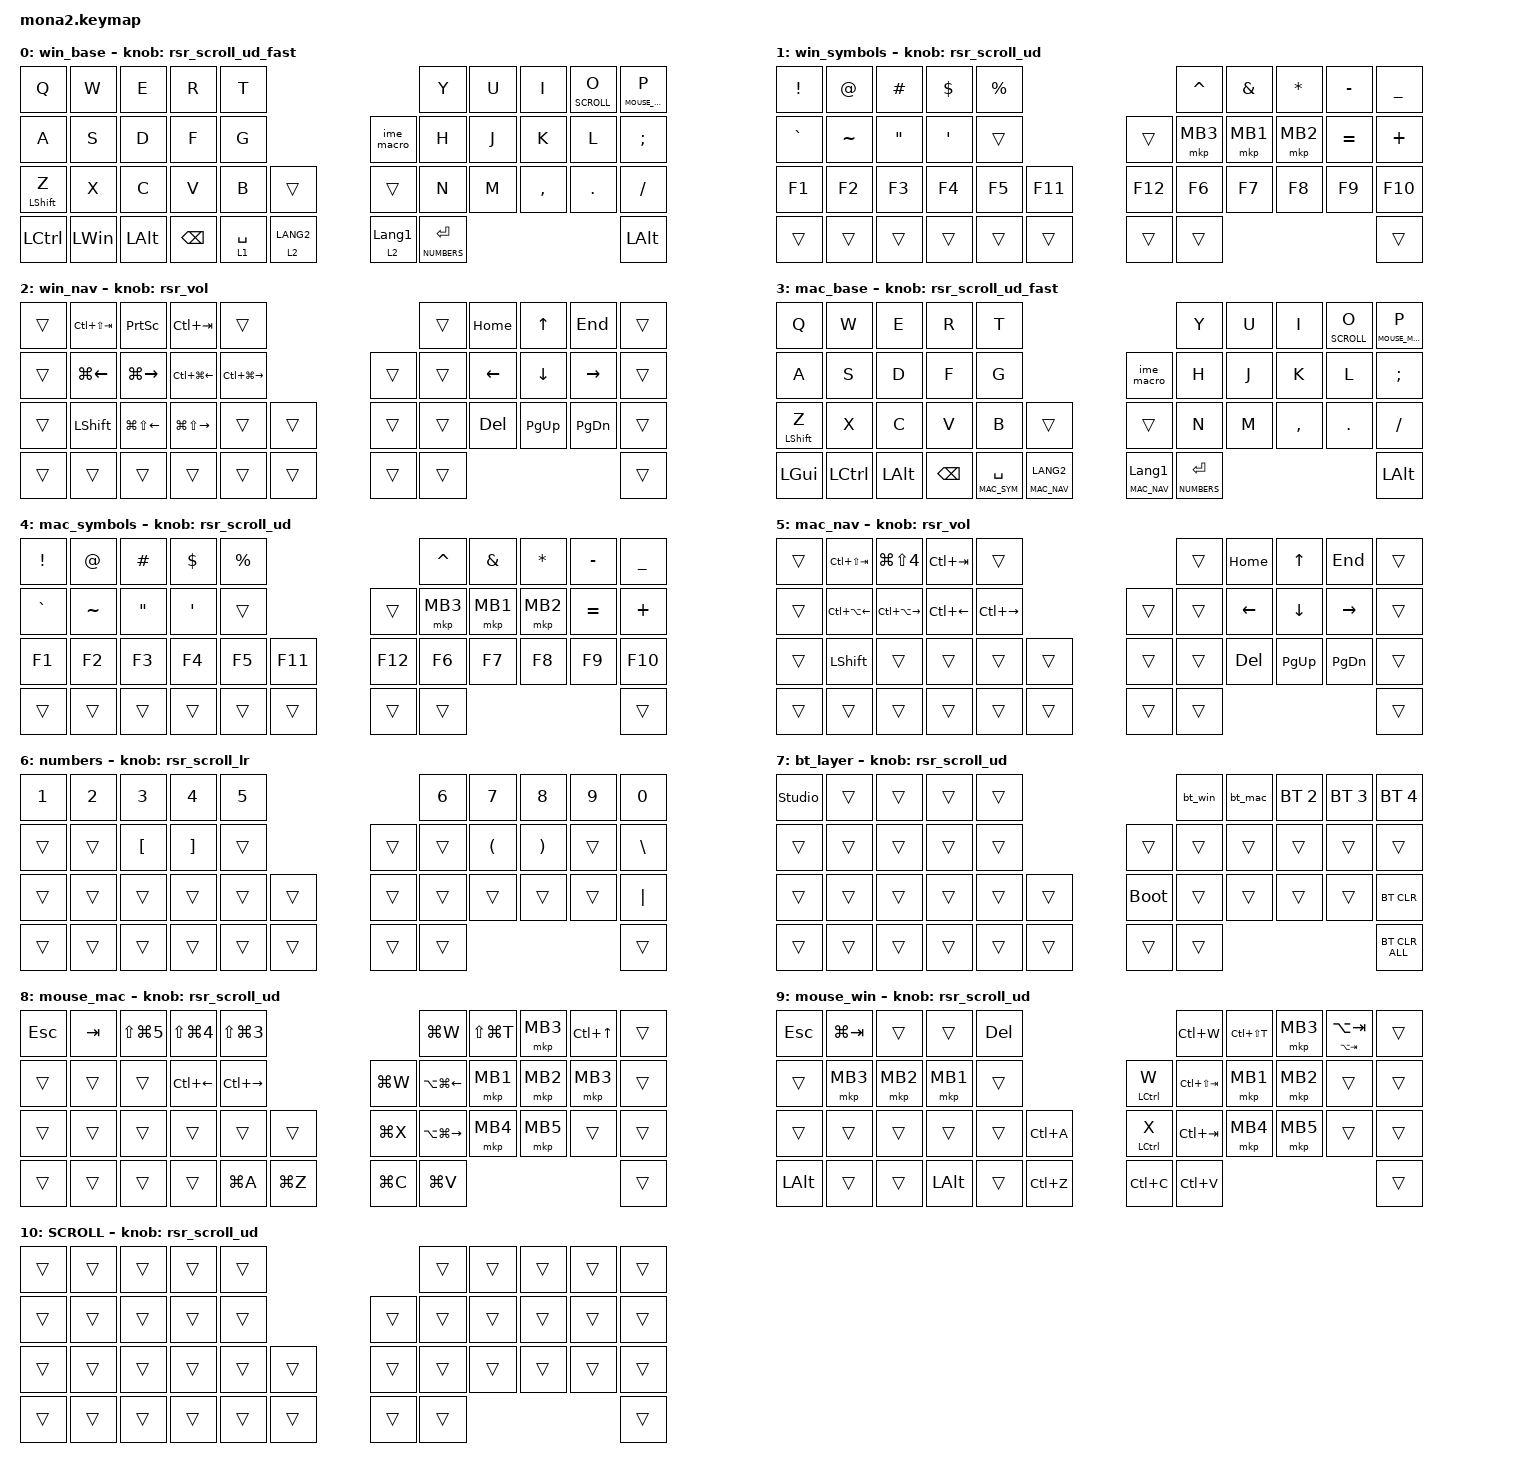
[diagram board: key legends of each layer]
/*
 * moNa2 (右手トラックボール) — DYA Studio 対応 keymap
 *
 * 2026-10-12 時点で実機 (DYA Studio から読み出した値) と同一になるよう固定している。
 *  - キー割り当て: 11 レイヤー × 42 キー
 *  - エンコーダー: Layer 0 / 3 のみスクロール量 100、その他は 30
 *  - コンボ: 旧ファームと同じ zmk,combos（DYA Studio のコンボ一覧には出ない。
 *    Studio で追加したコンボは runtime combo として別枠で動く）
 */

/* pointing.h より先に定義する（pointing.h 側は #ifndef で既定値 10 を定義する） */
#define ZMK_POINTING_DEFAULT_SCRL_VAL 30

#include <behaviors.dtsi>
#include <behaviors/runtime-sensor-rotate.dtsi>
#include <behaviors/runtime_macro.dtsi>
#include <dt-bindings/zmk/bt.h>
#include <dt-bindings/zmk/keys.h>
#include <dt-bindings/zmk/pointing.h>

#define MAC_BASE 3
#define MAC_SYM 4
#define MAC_NAV 5
#define NUMBERS 6
#define BT_LAYER 7
#define MOUSE_MAC 8
#define MOUSE_WIN 9
#define SCROLL 10

&mt {
    flavor = "balanced";
    quick-tap-ms = <0>;
};

&lt {
    quick-tap-ms = <300>;
    flavor = "balanced";
};

/ {
    combos {
        compatible = "zmk,combos";

        bt_layer_ESC {
            bindings = <&lt BT_LAYER ESC>;
            key-positions = <39 38>;
        };

        tab {
            bindings = <&kp TAB>;
            key-positions = <11 12>;
        };
    };

    macros {
        to_layer_0: to_layer_0 {
            compatible = "zmk,behavior-macro-one-param";
            #binding-cells = <1>;
            bindings = <&to 0 &macro_param_1to1 &kp MACRO_PLACEHOLDER>;
            display-name = "TO_LAYER_0";
        };

        ime_macro: ime_macro {
            compatible = "zmk,behavior-macro";
            #binding-cells = <0>;
            bindings = <&kp F13>;
            display-name = "IME_MACRO";
        };

        /* Win/Mac のレイヤー切替は zmk-feature-default-layer（OS 検出）に任せるので、
           プロファイルの選択だけを行う。ノード名は Studio に保存済みのキーマップとの
           互換のため旧名 (bt_win / bt_mac) のまま */
        bt_win: bt_win {
            compatible = "zmk,behavior-macro";
            #binding-cells = <0>;
            bindings = <&bt BT_SEL 0>;
            display-name = "BT_0";
        };

        bt_mac: bt_mac {
            compatible = "zmk,behavior-macro";
            #binding-cells = <0>;
            bindings = <&bt BT_SEL 1>;
            display-name = "BT_1";
        };
    };

    behaviors {
        lt_to_layer_0: lt_to_layer_0 {
            compatible = "zmk,behavior-hold-tap";
            display-name = "LAYER_TAP_TO_0";
            bindings = <&mo>, <&to_layer_0>;

            #binding-cells = <2>;
            tapping-term-ms = <200>;
        };

        // DYA Studio: Runtime sensor rotate behaviors for encoder
        rsr_vol: rsr_vol {
            compatible = "zmk,behavior-runtime-sensor-rotate";
            #sensor-binding-cells = <0>;
            tap-ms = <20>;
            cw-binding = <&kp C_VOL_DN>;
            ccw-binding = <&kp C_VOL_UP>;
        };

        rsr_scroll_ud: rsr_scroll_ud {
            compatible = "zmk,behavior-runtime-sensor-rotate";
            #sensor-binding-cells = <0>;
            tap-ms = <20>;
            cw-binding = <&msc SCRL_DOWN>;
            ccw-binding = <&msc SCRL_UP>;
        };

        // Layer 0 / 3 用。実機で DYA Studio から ±100 に変更されていた値
        rsr_scroll_ud_fast: rsr_scroll_ud_fast {
            compatible = "zmk,behavior-runtime-sensor-rotate";
            #sensor-binding-cells = <0>;
            tap-ms = <20>;
            cw-binding = <&msc MOVE_Y(-100)>;
            ccw-binding = <&msc MOVE_Y(100)>;
        };

        rsr_scroll_lr: rsr_scroll_lr {
            compatible = "zmk,behavior-runtime-sensor-rotate";
            #sensor-binding-cells = <0>;
            tap-ms = <20>;
            cw-binding = <&msc SCRL_LEFT>;
            ccw-binding = <&msc SCRL_RIGHT>;
        };
    };
    keymap {
        compatible = "zmk,keymap";

        // ==========================================
        // Layer 0: Windows Base
        // ==========================================

        win_base {
            bindings = <
&kp Q             &kp W         &kp E     &kp R          &kp T                                                                  &kp Y        &kp U  &kp I      &lt SCROLL O  &lt MOUSE_WIN P
&kp A             &kp S         &kp D     &kp F          &kp G                                  &ime_macro                       &kp H        &kp J  &kp K      &kp L         &kp SEMICOLON
&mt LEFT_SHIFT Z  &kp X         &kp C     &kp V          &kp B        &trans                     &trans                           &kp N        &kp M  &kp COMMA  &kp DOT       &kp SLASH
&kp LCTRL         &kp LEFT_WIN  &kp LALT  &kp BACKSPACE  &lt 1 SPACE  &lt_to_layer_0 2 LANG2     &lt_to_layer_0 2 LANGUAGE_1      &lt NUMBERS ENTER                            &kp LEFT_ALT
            >;

            sensor-bindings = <&rsr_scroll_ud_fast>;
        };

        // ==========================================
        // Layer 1: Windows Symbols
        // ==========================================

        win_symbols {
            bindings = <
&kp EXCLAMATION  &kp AT_SIGN  &kp POUND          &kp DOLLAR  &kp PERCENT                      &kp CARET  &kp AMPERSAND  &kp ASTERISK  &kp MINUS  &kp UNDERSCORE
&kp GRAVE        &kp TILDE    &kp DOUBLE_QUOTES  &kp SQT     &trans                  &trans   &mkp MB3   &mkp MB1       &mkp MB2      &kp EQUAL  &kp PLUS
&kp F1           &kp F2       &kp F3             &kp F4      &kp F5       &kp F11    &kp F12  &kp F6     &kp F7         &kp F8        &kp F9     &kp F10
&trans           &trans       &trans             &trans      &trans       &trans     &trans   &trans                                             &trans
            >;

            sensor-bindings = <&rsr_scroll_ud>;
        };

        // ==========================================
        // Layer 2: Windows Nav
        // ==========================================

        win_nav {
            bindings = <
&trans  &kp LC(LS(TAB))     &kp PRINTSCREEN         &kp LC(TAB)              &trans                                     &trans  &kp HOME        &kp UP_ARROW    &kp END          &trans
&trans  &kp LG(LEFT_ARROW)  &kp LG(RIGHT_ARROW)     &kp LC(LG(LEFT_ARROW))   &kp LC(LG(RIGHT_ARROW))            &trans  &trans  &kp LEFT_ARROW  &kp DOWN_ARROW  &kp RIGHT_ARROW  &trans
&trans  &kp LEFT_SHIFT      &kp LG(LS(LEFT_ARROW))  &kp LG(LS(RIGHT_ARROW))  &trans                   &trans    &trans  &trans  &kp DELETE      &kp PAGE_UP     &kp PAGE_DOWN    &trans
&trans  &trans              &trans                  &trans                   &trans                   &trans    &trans  &trans                                                   &trans
            >;

            sensor-bindings = <&rsr_vol>;
        };

        // ==========================================
        // Layer 3: Mac Base
        // ==========================================

        mac_base {
            bindings = <
&kp Q             &kp W      &kp E     &kp R          &kp T                                                            &kp Y        &kp U  &kp I      &lt SCROLL O  &lt MOUSE_MAC P
&kp A             &kp S      &kp D     &kp F          &kp G                              &ime_macro                    &kp H        &kp J  &kp K      &kp L         &kp SEMICOLON
&mt LEFT_SHIFT Z  &kp X      &kp C     &kp V          &kp B          &trans               &trans                        &kp N        &kp M  &kp COMMA  &kp DOT       &kp SLASH
&kp LGUI          &kp LCTRL  &kp LALT  &kp BACKSPACE  &lt MAC_SYM SPACE  &lt MAC_NAV LANG2  &lt MAC_NAV LANGUAGE_1       &lt NUMBERS ENTER                            &kp LALT
            >;

            sensor-bindings = <&rsr_scroll_ud_fast>;
        };

        // ==========================================
        // Layer 4: Mac Symbols
        // ==========================================

        mac_symbols {
            bindings = <
&kp EXCLAMATION  &kp AT_SIGN  &kp POUND          &kp DOLLAR  &kp PERCENT                      &kp CARET  &kp AMPERSAND  &kp ASTERISK  &kp MINUS  &kp UNDERSCORE
&kp GRAVE        &kp TILDE    &kp DOUBLE_QUOTES  &kp SQT     &trans                  &trans   &mkp MB3   &mkp MB1       &mkp MB2      &kp EQUAL  &kp PLUS
&kp F1           &kp F2       &kp F3             &kp F4      &kp F5       &kp F11    &kp F12  &kp F6     &kp F7         &kp F8        &kp F9     &kp F10
&trans           &trans       &trans             &trans      &trans       &trans     &trans   &trans                                             &trans
            >;

            sensor-bindings = <&rsr_scroll_ud>;
        };

        // ==========================================
        // Layer 5: Mac Nav
        // ==========================================

        mac_nav {
            bindings = <
&trans  &kp LC(LS(TAB))        &kp LG(LS(NUMBER_4))    &kp LC(TAB)          &trans                                     &trans  &kp HOME        &kp UP_ARROW    &kp END          &trans
&trans  &kp LC(LA(LEFT_ARROW)) &kp LC(LA(RIGHT_ARROW))  &kp LC(LEFT_ARROW)   &kp LC(RIGHT_ARROW)            &trans      &trans  &kp LEFT_ARROW  &kp DOWN_ARROW  &kp RIGHT_ARROW  &trans
&trans  &kp LEFT_SHIFT         &trans                   &trans               &trans                &trans    &trans      &trans  &kp DELETE      &kp PAGE_UP     &kp PAGE_DOWN    &trans
&trans  &trans                 &trans                   &trans               &trans                &trans    &trans      &trans                                                   &trans
            >;

            sensor-bindings = <&rsr_vol>;
        };

        // ==========================================
        // Layer 6: Numbers (共通 — Mac/Win両方より上)
        // ==========================================

        numbers {
            bindings = <
&kp NUMBER_1  &kp NUMBER_2  &kp NUMBER_3      &kp NUMBER_4       &kp NUMBER_5                    &kp NUMBER_6  &kp NUMBER_7          &kp NUMBER_8           &kp NUMBER_9  &kp NUMBER_0
&trans        &trans        &kp LEFT_BRACKET  &kp RIGHT_BRACKET  &trans                  &trans  &trans        &kp LEFT_PARENTHESIS  &kp RIGHT_PARENTHESIS  &trans        &kp BACKSLASH
&trans        &trans        &trans            &trans             &trans        &trans    &trans  &trans        &trans                &trans                 &trans        &kp PIPE
&trans        &trans        &trans            &trans             &trans        &trans    &trans  &trans                                                                   &trans
            >;

            sensor-bindings = <&rsr_scroll_lr>;
        };

        // ==========================================
        // Layer 7: BT Layer
        // ==========================================

        bt_layer {
            bindings = <
&studio_unlock  &trans  &trans  &trans  &trans                         &bt_win       &bt_mac       &bt BT_SEL 2  &bt BT_SEL 3  &bt BT_SEL 4
&trans          &trans  &trans  &trans  &trans            &trans       &trans        &trans        &trans        &trans        &trans
&trans          &trans  &trans  &trans  &trans  &trans    &bootloader  &trans        &trans        &trans        &trans        &bt BT_CLR
&trans          &trans  &trans  &trans  &trans  &trans    &trans       &trans                                                  &bt BT_CLR_ALL
            >;

            sensor-bindings = <&rsr_scroll_ud>;
        };

        // ==========================================
        // Layer 8: Mouse Mac
        // ==========================================

        mouse_mac {
            bindings = <
&kp ESC  &kp TAB   &kp LS(LG(N5))  &kp LS(LG(N4))  &kp LS(LG(N3))                                       &kp LG(W)  &kp LS(LG(T))      &mkp MB3  &kp LC(UP_ARROW)  &trans
&trans   &trans    &trans           &kp LC(LEFT)    &kp LC(RIGHT)                        &kp LG(W)      &kp LA(LG(LEFT))   &mkp MB1  &mkp MB2          &mkp MB3  &trans
&trans   &trans    &trans           &trans          &trans          &trans                &kp LG(X)     &kp LA(LG(RIGHT))  &mkp MB4  &mkp MB5          &trans    &trans
&trans   &trans    &trans           &trans          &kp LG(A)       &kp LG(Z)             &kp LG(C)     &kp LG(V)                                                &trans
            >;

            sensor-bindings = <&rsr_scroll_ud>;
        };

        // ==========================================
        // Layer 9: Mouse Win
        // ==========================================

        mouse_win {
            bindings = <
&kp ESC   &kp LG(TAB)  &trans    &trans    &kp DEL                                               &kp LC(W)          &kp LC(LS(T))     &mkp MB3  &mt LA(TAB) LA(TAB)  &trans
&trans    &mkp MB3  &mkp MB2  &mkp MB1  &trans                                &mt LCTRL W     &kp LC(LS(TAB))    &mkp MB1          &mkp MB2  &trans               &trans
&trans    &trans    &trans    &trans    &trans           &kp LC(A)            &mt LCTRL X     &kp LC(TAB)        &mkp MB4          &mkp MB5  &trans               &trans
&kp LALT  &trans    &trans    &kp LALT  &trans           &kp LC(Z)            &kp LC(C)       &kp LC(V)                                                            &trans
            >;

            sensor-bindings = <&rsr_scroll_ud>;
        };

        // ==========================================
        // Layer 10: Scroll
        // ==========================================

        SCROLL {
            bindings = <
&trans  &trans  &trans  &trans  &trans                    &trans  &trans  &trans  &trans  &trans
&trans  &trans  &trans  &trans  &trans            &trans  &trans  &trans  &trans  &trans  &trans
&trans  &trans  &trans  &trans  &trans  &trans    &trans  &trans  &trans  &trans  &trans  &trans
&trans  &trans  &trans  &trans  &trans  &trans    &trans  &trans                          &trans
            >;

            sensor-bindings = <&rsr_scroll_ud>;
        };
    };
};
